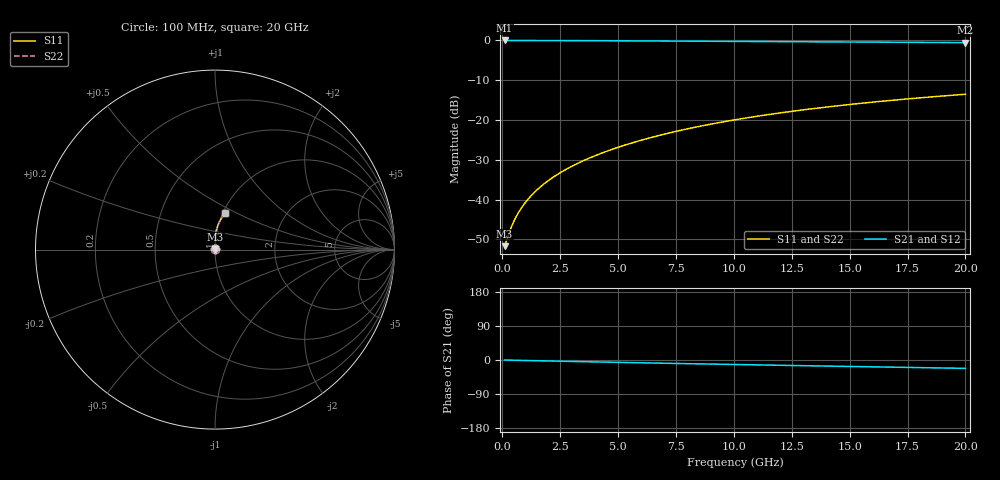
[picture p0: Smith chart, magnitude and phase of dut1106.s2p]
! Touchstone file exported from HFSS 2024.1.0
!  File:  C:/UserFiles/LocalFiles/RDL_TSV_Batchsim/temp_RDL_bottom_1106_1780054216.aedt
!  Generated:  07:32:49 PM May 29, 2026
!  Design:  RDL_bottom
!  Project:  temp_RDL_bottom_1106_1780054216
!  Setup:  Setup1
!  Solution:  Sweep
! Variables:
!  dtsv = 10.80580581um
!  hbump = 3um
!  htsv = 62.29um
!  ldown = 301.12um
!  lrdl = 100um
!  p = 40
!  p1 = 45.73um
!  rhole = 1um
!  t = 450um
!  tdown = 2.12um
!  trdl = 3.915915916um
!  wdown = 25.15um
!  wrdl = 20um
# GHz S MA R 50.000000
! Terminal data exported
! Port[1] = RDL1_T1
! Port[2] = RDL1_T2
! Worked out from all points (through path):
!   200 points, 100 MHz to 20 GHz, reference 50 ohm
!   highest |S21| = -0.02 dB at 100 MHz (marker M1); lowest = -0.6 dB at 20 GHz (marker M2)
!   group delay of S21, straight-line fit = 3.03 ps
!   lowest |S11| = -51.7 dB at 100 MHz (marker M3), VSWR 1.01, Z = 50.2 + j0.0988 ohm
!   |S11| at or under -10 dB: start of sweep to end of sweep
!   |S22| runs from -51.7 to -13.5 dB; largest |S21 - S12| = 3.2e-15
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0.1  0.002606 22.2  0.9976 -0.1  0.9976 -0.1  0.002606 22.2
! Gamma 0 0 0 0
! Port Impedance 50 0 50 0
0.3  0.003841 48.2  0.9974 -0.4  0.9974 -0.4  0.00384 48.2
0.4  0.004588 54.8  0.9973 -0.5  0.9973 -0.5  0.004585 54.8
0.6  0.006119 63.1  0.997 -0.8  0.997 -0.8  0.006114 63.1
0.7  0.006892 65.9  0.9969 -0.9  0.9969 -0.9  0.006887 65.9
0.9  0.008453 70.3  0.9966 -1.2  0.9966 -1.2  0.00845 70.3
1.2  0.01084 74.8  0.9962 -1.6  0.9962 -1.6  0.01084 74.8
1.4  0.01246 77.0  0.996 -1.8  0.996 -1.8  0.01246 77.0
1.7  0.01494 79.5  0.9955 -2.2  0.9955 -2.2  0.01494 79.5
2.2  0.01918 82.5  0.9947 -2.8  0.9947 -2.8  0.01918 82.5
2.8  0.02444 84.9  0.9935 -3.6  0.9935 -3.6  0.02444 84.9
3.5  0.03083 86.7  0.9918 -4.5  0.9918 -4.5  0.03083 86.8
4.2  0.03749 87.9  0.9899 -5.3  0.9899 -5.3  0.0375 87.9
5  0.04543 88.7  0.9876 -6.3  0.9876 -6.3  0.04544 88.7
5.9  0.05472 89.0  0.9847 -7.3  0.9847 -7.3  0.05474 89.0
6.8  0.06433 88.9  0.9817 -8.3  0.9817 -8.3  0.06436 89.0
8.4  0.08199 88.0  0.9763 -10.1  0.9763 -10.1  0.08204 88.1
10.1  0.1012 86.5  0.9705 -12.0  0.9705 -12.0  0.1013 86.6
11.7  0.1194 84.8  0.9651 -13.7  0.9651 -13.7  0.1195 84.9
13.4  0.1387 82.8  0.9594 -15.4  0.9594 -15.4  0.1388 82.9
16.7  0.1754 78.8  0.9484 -18.8  0.9484 -18.8  0.1755 78.9
20  0.2107 74.9  0.9374 -22.1  0.9374 -22.1  0.2109 75.0
